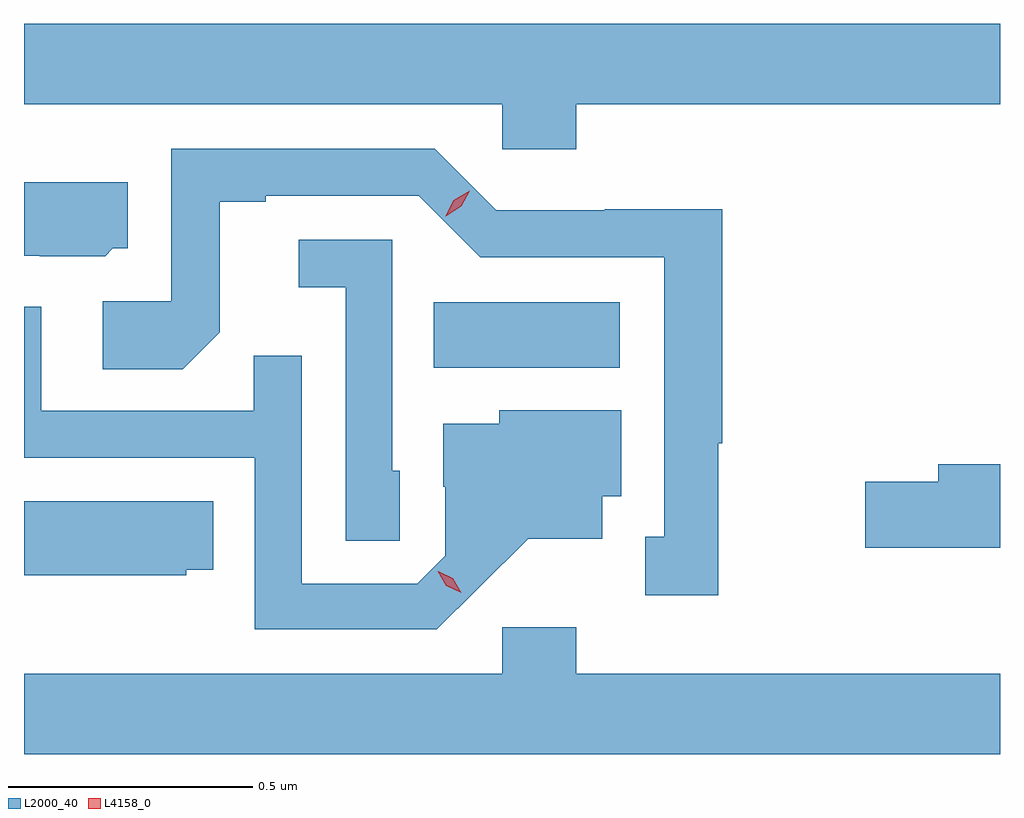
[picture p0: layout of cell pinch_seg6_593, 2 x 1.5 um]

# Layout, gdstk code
import gdstk
lib = gdstk.Library(unit=1e-6, precision=1e-09)
def R(c, l, rs):  # rectangles x0, y0, x1, y1
    for r in rs: c.add(gdstk.rectangle(r[:2], r[2:], *l))
def P(c, l, *ps):  # polygons
    for p in ps: c.add(gdstk.Polygon(p, *l))
L2000_40 = (2000, 40)
L4158_0 = (4158, 0)

pinch_seg6_593 = lib.new_cell('pinch_seg6_593')
R(pinch_seg6_593, L2000_40, [(604.456,970.772,604.837,970.906)])
P(pinch_seg6_593, L2000_40, [(604.748,971.312),(605.616,971.312),(605.616,971.476),(603.616,971.476),(603.616,971.312),(604.596,971.312),(604.596,971.219),(604.748,971.219)],
  [(605.039,970.617),(605.047,970.617),(605.047,971.096),(604.806,971.096),(604.806,971.094),(604.584,971.094),(604.458,971.22),(603.918,971.22),(603.918,970.908),(603.777,970.908),(603.777,970.768),(603.941,970.768),(604.017,970.844),(604.017,971.112),(604.111,971.112),(604.111,971.124),(604.425,971.124),(604.551,970.998),(604.928,970.998),(604.928,970.425),(604.889,970.425),(604.889,970.305),(605.039,970.305)],
  [(603.798,971.016),(603.829,971.016),(603.829,971.152),(603.616,971.152),(603.616,971.001),(603.648,971.001),(603.648,971),(603.782,971)],
  [(604.386,970.56),(604.371,970.56),(604.371,971.034),(604.179,971.034),(604.179,970.937),(604.275,970.937),(604.275,970.417),(604.386,970.417)],
  [(604.546,970.319),(604.649,970.421),(604.801,970.421),(604.801,970.508),(604.84,970.508),(604.84,970.684),(604.59,970.684),(604.59,970.657),(604.475,970.657),(604.475,970.528),(604.479,970.528),(604.479,970.386),(604.422,970.329),(604.185,970.329),(604.185,970.796),(604.087,970.796),(604.087,970.683),(603.651,970.683),(603.651,970.897),(603.616,970.897),(603.616,970.587),(604.089,970.587),(604.089,970.236),(604.462,970.236)],
  [(605.616,970.574),(605.489,970.574),(605.489,970.538),(605.34,970.538),(605.34,970.403),(605.616,970.403)],
  [(603.948,970.358),(604.004,970.358),(604.004,970.498),(603.616,970.498),(603.616,970.346),(603.948,970.346)],
  [(605.616,970.144),(604.748,970.144),(604.748,970.24),(604.596,970.24),(604.596,970.144),(603.616,970.144),(603.616,969.98),(605.616,969.98)])
P(pinch_seg6_593, L4158_0, [(604.48,971.082),(604.48,971.083),(604.497,971.115),(604.529,971.134),(604.529,971.134),(604.529,971.134),(604.512,971.102),(604.48,971.082)],
  [(604.512,970.31),(604.481,970.325),(604.464,970.355),(604.464,970.355),(604.465,970.355),(604.495,970.34),(604.512,970.31),(604.512,970.31)])

lib.write_gds('pinch_seg6_593.gds')
